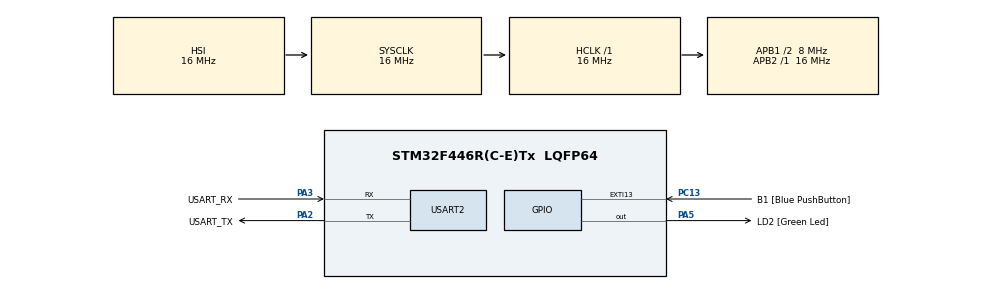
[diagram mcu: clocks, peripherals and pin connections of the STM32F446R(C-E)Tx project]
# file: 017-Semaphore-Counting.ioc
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Mcu.Family=STM32F4
Mcu.Name=STM32F446R(C-E)Tx
Mcu.Package=LQFP64
NVIC.EXTI15_10_IRQn=true\:0\:0\:false\:false\:true\:true\:true\:true
NVIC.PriorityGroup=NVIC_PRIORITYGROUP_4
NVIC.TIM6_DAC_IRQn=true\:0\:0\:false\:false\:true\:false\:true\:true
NVIC.TimeBase=TIM6_DAC_IRQn
NVIC.TimeBaseIP=TIM6
PA13.GPIO_Label=TMS
PA13.Mode=Serial_Wire
PA13.Signal=SYS_JTMS-SWDIO
PA14.GPIO_Label=TCK
PA14.Mode=Serial_Wire
PA14.Signal=SYS_JTCK-SWCLK
PA2.GPIO_Label=USART_TX
PA2.Mode=Asynchronous
PA2.Signal=USART2_TX
PA3.GPIO_Label=USART_RX
PA3.Mode=Asynchronous
PA3.Signal=USART2_RX
PA5.GPIO_Label=LD2 [Green Led]
PA5.Signal=GPIO_Output
PB3.GPIO_Label=SWO
PB3.Signal=SYS_JTDO-SWO
PC13.GPIO_Label=B1 [Blue PushButton]
PC13.GPIO_ModeDefaultEXTI=GPIO_MODE_IT_RISING
PC13.Signal=GPXTI13
PC14-OSC32_IN.Mode=LSE-External-Oscillator
PC14-OSC32_IN.Signal=RCC_OSC32_IN
PC15-OSC32_OUT.Mode=LSE-External-Oscillator
PC15-OSC32_OUT.Signal=RCC_OSC32_OUT
PH0-OSC_IN.Mode=HSE-External-Oscillator
PH0-OSC_IN.Signal=RCC_OSC_IN
PH1-OSC_OUT.Mode=HSE-External-Oscillator
PH1-OSC_OUT.Signal=RCC_OSC_OUT
ProjectManager.HeapSize=0x200
ProjectManager.StackSize=0x400
ProjectManager.TargetToolchain=STM32CubeIDE
RCC.48MHZClocksFreq_Value=84000000
RCC.AHBFreq_Value=16000000
RCC.APB1CLKDivider=RCC_HCLK_DIV2
RCC.APB1Freq_Value=8000000
RCC.APB1TimFreq_Value=16000000
RCC.APB2Freq_Value=16000000
RCC.APB2TimFreq_Value=16000000
RCC.CortexFreq_Value=16000000
RCC.FLatency-AdvancedSettings=FLASH_LATENCY_0
RCC.HCLKFreq_Value=16000000
RCC.HSE_VALUE=8000000
RCC.HSI_VALUE=16000000
RCC.PLLN=336
RCC.PLLP=RCC_PLLP_DIV4
RCC.SYSCLKFreq_VALUE=16000000
RCC.USBFreq_Value=168000000
RCC.VCOOutputFreq_Value=336000000
USART2.VirtualMode=VM_ASYNC
VP_SYS_VS_tim6.Mode=TIM6
board=NUCLEO-F446RE

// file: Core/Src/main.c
/* USER CODE BEGIN Header */
/**
  ******************************************************************************
  * @file           : main.c
  * @brief          : Main program body
  ******************************************************************************
  * @attention
  *
  * Copyright (c) 2023 STMicroelectronics.
  * All rights reserved.
  *
  * This software is licensed under terms that can be found in the LICENSE file
  * in the root directory of this software component.
  * If no LICENSE file comes with this software, it is provided AS-IS.
  *
  ******************************************************************************
  */
/* USER CODE END Header */
#include "main.h"

/* USER CODE BEGIN Includes */
#include <stdio.h>
#include <string.h>
#include "FreeRTOS.h"
#include "task.h"
#include "semphr.h"

/* USER CODE END Includes */

UART_HandleTypeDef huart2;

/* USER CODE BEGIN PV */
/* Declare a variable of type SemaphoreHandle_t.  This is used to reference the
semaphore that is used to synchronize a task with an interrupt. */
SemaphoreHandle_t xCountingSemaphore;

/* USER CODE END PV */

void SystemClock_Config(void);
static void MX_GPIO_Init(void);
static void MX_USART2_UART_Init(void);
/* USER CODE BEGIN PFP */
static void vHandlerTask( void *pvParameters );
static void vPeriodicTask( void *pvParameters );

/* USER CODE END PFP */

/* USER CODE BEGIN 0 */
void vPrintString(const char *txt)
{
	taskENTER_CRITICAL();
	HAL_UART_Transmit(&huart2, (uint8_t*)txt, strlen(txt), HAL_MAX_DELAY);
	taskEXIT_CRITICAL();
}

void vPrintStringAndNumber( const char *pcString, uint32_t ulValue )
{
	char as8printval[50];
	/* Print the string, using a critical section as a crude method of mutual
	exclusion. */
	taskENTER_CRITICAL();
	{
		sprintf(as8printval,  "%s %lu\r\n", pcString, ulValue );
		HAL_UART_Transmit(&huart2,(uint8_t *)as8printval,strlen(as8printval),HAL_MAX_DELAY);
	}
	taskEXIT_CRITICAL();
}

/* USER CODE END 0 */

int main(void)
{

  /* MCU Configuration--------------------------------------------------------*/

  /* Reset of all peripherals, Initializes the Flash interface and the Systick. */
  HAL_Init();

  /* Configure the system clock */
  SystemClock_Config();

  /* Initialize all configured peripherals */
  MX_GPIO_Init();
  MX_USART2_UART_Init();
  /* USER CODE BEGIN 2 */
  /* Before a semaphore is used it must be explicitly created.  In this
	example a counting semaphore is created.  The semaphore is created to have a
	maximum count value of 10, and an initial count value of 0. */
	xCountingSemaphore = xSemaphoreCreateCounting( 10, 0 );

	/* Check the semaphore was created successfully. */
	if( xCountingSemaphore != NULL )
	{
		/* Create the 'handler' task, which is the task to which interrupt
		processing is deferred, and so is the task that will be synchronized
		with the interrupt.  The handler task is created with a high priority to
		ensure it runs immediately after the interrupt exits.  In this case a
		priority of 3 is chosen. */
		xTaskCreate( vHandlerTask, "Handler", 1000, NULL, 3, NULL );

		/* Create the task that will periodically generate a software interrupt.
		This is created with a priority below the handler task to ensure it will
		get preempted each time the handler task exits the Blocked state. */
		xTaskCreate( vPeriodicTask, "Periodic", 1000, NULL, 1, NULL );

		/* Start the scheduler so the created tasks start executing. */
		vTaskStartScheduler();
	}

	/* The following line should never be reached because vTaskStartScheduler()
	will only return if there was not enough FreeRTOS heap memory available to
	create the Idle and (if configured) Timer tasks.  Heap management, and
	techniques for trapping heap exhaustion, are described in the book text. */
	for( ;; );
	return 0;
  /* USER CODE END 2 */

  /* Infinite loop */
  while (1)
  {

  }
}

void SystemClock_Config(void)
{
  RCC_OscInitTypeDef RCC_OscInitStruct = {0};
  RCC_ClkInitTypeDef RCC_ClkInitStruct = {0};

  /** Configure the main internal regulator output voltage
  */
  __HAL_RCC_PWR_CLK_ENABLE();
  __HAL_PWR_VOLTAGESCALING_CONFIG(PWR_REGULATOR_VOLTAGE_SCALE3);

  /** Initializes the RCC Oscillators according to the specified parameters
  * in the RCC_OscInitTypeDef structure.
  */
  RCC_OscInitStruct.OscillatorType = RCC_OSCILLATORTYPE_HSI;
  RCC_OscInitStruct.HSIState = RCC_HSI_ON;
  RCC_OscInitStruct.HSICalibrationValue = RCC_HSICALIBRATION_DEFAULT;
  RCC_OscInitStruct.PLL.PLLState = RCC_PLL_NONE;
  if (HAL_RCC_OscConfig(&RCC_OscInitStruct) != HAL_OK)
  {
    Error_Handler();
  }

  /** Initializes the CPU, AHB and APB buses clocks
  */
  RCC_ClkInitStruct.ClockType = RCC_CLOCKTYPE_HCLK|RCC_CLOCKTYPE_SYSCLK
                              |RCC_CLOCKTYPE_PCLK1|RCC_CLOCKTYPE_PCLK2;
  RCC_ClkInitStruct.SYSCLKSource = RCC_SYSCLKSOURCE_HSI;
  RCC_ClkInitStruct.AHBCLKDivider = RCC_SYSCLK_DIV1;
  RCC_ClkInitStruct.APB1CLKDivider = RCC_HCLK_DIV2;
  RCC_ClkInitStruct.APB2CLKDivider = RCC_HCLK_DIV1;

  if (HAL_RCC_ClockConfig(&RCC_ClkInitStruct, FLASH_LATENCY_0) != HAL_OK)
  {
    Error_Handler();
  }
}

static void MX_USART2_UART_Init(void)
{

  huart2.Instance = USART2;
  huart2.Init.BaudRate = 115200;
  huart2.Init.WordLength = UART_WORDLENGTH_8B;
  huart2.Init.StopBits = UART_STOPBITS_1;
  huart2.Init.Parity = UART_PARITY_NONE;
  huart2.Init.Mode = UART_MODE_TX_RX;
  huart2.Init.HwFlowCtl = UART_HWCONTROL_NONE;
  huart2.Init.OverSampling = UART_OVERSAMPLING_16;
  if (HAL_UART_Init(&huart2) != HAL_OK)
  {
    Error_Handler();
  }

}

static void MX_GPIO_Init(void)
{
  GPIO_InitTypeDef GPIO_InitStruct = {0};

  /* GPIO Ports Clock Enable */
  __HAL_RCC_GPIOC_CLK_ENABLE();
  __HAL_RCC_GPIOH_CLK_ENABLE();
  __HAL_RCC_GPIOA_CLK_ENABLE();
  __HAL_RCC_GPIOB_CLK_ENABLE();

  /*Configure GPIO pin Output Level */
  HAL_GPIO_WritePin(LD2_GPIO_Port, LD2_Pin, GPIO_PIN_RESET);

  /*Configure GPIO pin : B1_Pin */
  GPIO_InitStruct.Pin = B1_Pin;
  GPIO_InitStruct.Mode = GPIO_MODE_IT_RISING;
  GPIO_InitStruct.Pull = GPIO_NOPULL;
  HAL_GPIO_Init(B1_GPIO_Port, &GPIO_InitStruct);

  /*Configure GPIO pin : LD2_Pin */
  GPIO_InitStruct.Pin = LD2_Pin;
  GPIO_InitStruct.Mode = GPIO_MODE_OUTPUT_PP;
  GPIO_InitStruct.Pull = GPIO_NOPULL;
  GPIO_InitStruct.Speed = GPIO_SPEED_FREQ_LOW;
  HAL_GPIO_Init(LD2_GPIO_Port, &GPIO_InitStruct);

  /* EXTI interrupt init*/
  HAL_NVIC_SetPriority(EXTI15_10_IRQn, 6, 0);
  HAL_NVIC_EnableIRQ(EXTI15_10_IRQn);

}

/* USER CODE BEGIN 4 */
static void vHandlerTask( void *pvParameters )
{
	/* As per most tasks, this task is implemented within an infinite loop. */
	for( ;; )
	{
		/* Use the semaphore to wait for the event.  The semaphore was created
		before the scheduler was started so before this task ran for the first
		time.  The task blocks indefinitely meaning this function call will only
		return once the semaphore has been successfully obtained - so there is
		no need to check the returned value. */
		xSemaphoreTake( xCountingSemaphore, portMAX_DELAY );

		/* To get here the event must have occurred.  Process the event (in this
		case just print out a message). */
		vPrintString( "Handler task - Processing event.\r\n" );
	}
}
/*-----------------------------------------------------------*/

static void vPeriodicTask( void *pvParameters )
{
const TickType_t xDelay500ms = pdMS_TO_TICKS( 500UL );

	/* As per most tasks, this task is implemented within an infinite loop. */
	for( ;; )
	{
		/* This task is just used to 'simulate' an interrupt.  This is done by
		periodically generating a simulated software interrupt.  Block until it
		is time to generate the software interrupt again. */
		vTaskDelay( xDelay500ms );

		/* Generate the interrupt, printing a message both before and after
		the interrupt has been generated so the sequence of execution is evident
		from the output.

		The syntax used to generate a software interrupt is dependent on the
		FreeRTOS port being used.  The syntax used below can only be used with
		the FreeRTOS Windows port, in which such interrupts are only
		simulated. */
		vPrintString( "Periodic task executing now\r\n" );
	}
}

void HAL_GPIO_EXTI_Callback(uint16_t GPIO_Pin)
{
	if(GPIO_Pin == GPIO_PIN_13)
	{
		BaseType_t xHigherPriorityTaskWoken;

			/* The xHigherPriorityTaskWoken parameter must be initialized to pdFALSE as
			it will get set to pdTRUE inside the interrupt safe API function if a
			context switch is required. */
			xHigherPriorityTaskWoken = pdFALSE;

			/* 'Give' the semaphore multiple times.  The first will unblock the deferred
			interrupt handling task, the following 'gives' are to demonstrate that the
			semaphore latches the events to allow the handler task to process them in
			turn without events getting lost.  This simulates multiple interrupts being
			processed by the processor, even though in this case the events are
			simulated within a single interrupt occurrence.*/
			xSemaphoreGiveFromISR( xCountingSemaphore, &xHigherPriorityTaskWoken );
			xSemaphoreGiveFromISR( xCountingSemaphore, &xHigherPriorityTaskWoken );
			xSemaphoreGiveFromISR( xCountingSemaphore, &xHigherPriorityTaskWoken );

			/* Pass the xHigherPriorityTaskWoken value into portYIELD_FROM_ISR().  If
			xHigherPriorityTaskWoken was set to pdTRUE inside xSemaphoreGiveFromISR()
			then calling portYIELD_FROM_ISR() will request a context switch.  If
			xHigherPriorityTaskWoken is still pdFALSE then calling
			portYIELD_FROM_ISR() will have no effect.  The implementation of
			portYIELD_FROM_ISR() used by the Windows port includes a return statement,
			which is why this function does not explicitly return a value. */
			portYIELD_FROM_ISR( xHigherPriorityTaskWoken );
	}
}

/* USER CODE END 4 */

void HAL_TIM_PeriodElapsedCallback(TIM_HandleTypeDef *htim)
{
  if (htim->Instance == TIM6) {
    HAL_IncTick();
  }
}

void Error_Handler(void)
{
  __disable_irq();
  while (1)
  {
  }
}
